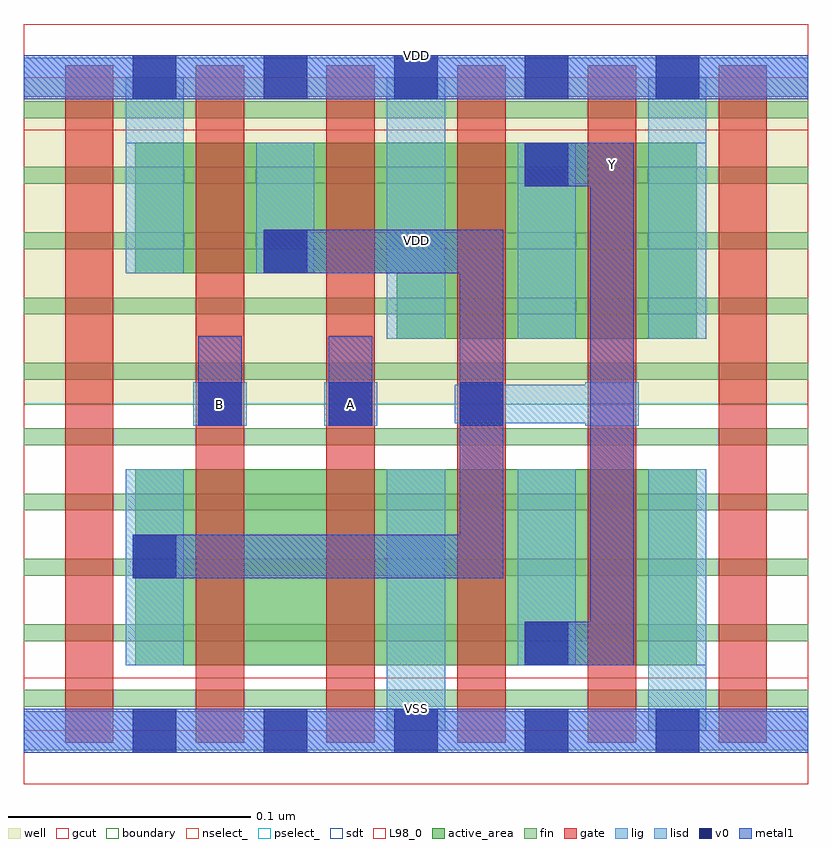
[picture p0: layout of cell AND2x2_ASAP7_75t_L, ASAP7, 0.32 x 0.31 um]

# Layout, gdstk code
import gdstk
lib = gdstk.Library(unit=1e-6, precision=2.5e-10)
def R(c, l, rs):  # rectangles x0, y0, x1, y1
    for r in rs: c.add(gdstk.rectangle(r[:2], r[2:], *l))
def A(c, l, x, y, w, h, nx, ny, dx, dy):  # array of equal rectangles
    R(c, l, [(x+i*dx, y+j*dy, x+i*dx+w, y+j*dy+h) for i in range(nx) for j in range(ny)])
def P(c, l, *ps):  # polygons
    for p in ps: c.add(gdstk.Polygon(p, *l))
well = (1, 0)
fin = (2, 0)
gate = (7, 0)
gcut = (10, 0)
active_area = (11, 0)
nselect_ = (12, 0)
pselect_ = (13, 0)
lig = (16, 0)
lisd = (17, 0)
v0 = (18, 0)
metal1 = (19, 0)
sdt = (88, 0)
L98_0 = (98, 0)
boundary = (100, 0)

and2x2_asap7_75t_l = lib.new_cell('AND2x2_ASAP7_75t_L')
R(and2x2_asap7_75t_l, well, [(0,0.135,0.324,0.27)])
A(and2x2_asap7_75t_l, fin, 0, 0.01, 0.324, 0.007, 1, 10, 0, 0.027)
A(and2x2_asap7_75t_l, gate, 0.017, -0.005, 0.02, 0.28, 6, 1, 0.054, 0)
R(and2x2_asap7_75t_l, gcut, [(0,-0.022,0.324,0.022), (0,0.248,0.324,0.292)])
R(and2x2_asap7_75t_l, active_area, [(0.046,0.027,0.278,0.108)])
P(and2x2_asap7_75t_l, active_area, [(0.046,0.189),(0.154,0.189),(0.154,0.162),(0.278,0.162),(0.278,0.243),(0.046,0.243)])
R(and2x2_asap7_75t_l, nselect_, [(0,0,0.324,0.135)])
R(and2x2_asap7_75t_l, pselect_, [(0,0.135,0.324,0.27)])
R(and2x2_asap7_75t_l, lig, [(0,-0.008,0.324,0.008), (0.07,0.126,0.092,0.144), (0.124,0.126,0.146,0.144), (0.232,0.126,0.254,0.144), (0.178,0.127,0.254,0.143), (0,0.262,0.324,0.278)])
R(and2x2_asap7_75t_l, lisd, [(0.15,0,0.174,0.108), (0.15,0,0.174,0.108), (0.258,0,0.282,0.108), (0.258,0,0.282,0.108), (0.042,0.027,0.066,0.108), (0.204,0.027,0.228,0.108), (0.15,0.162,0.174,0.27), (0.15,0.162,0.174,0.27), (0.204,0.162,0.228,0.243), (0.258,0.162,0.282,0.27), (0.258,0.162,0.282,0.27), (0.042,0.189,0.066,0.27), (0.042,0.189,0.066,0.27), (0.096,0.189,0.12,0.243)])
A(and2x2_asap7_75t_l, v0, 0.045, -0.009, 0.018, 0.018, 5, 2, 0.054, 0.27)
A(and2x2_asap7_75t_l, v0, 0.072, 0.126, 0.018, 0.018, 3, 1, 0.054, 0)
R(and2x2_asap7_75t_l, v0, [(0.207,0.027,0.225,0.045), (0.045,0.063,0.063,0.081), (0.099,0.189,0.117,0.207), (0.207,0.225,0.225,0.243)])
A(and2x2_asap7_75t_l, metal1, 0.072, 0.126, 0.018, 0.018, 3, 1, 0.054, 0)
R(and2x2_asap7_75t_l, metal1, [(0,-0.009,0.324,0.009), (0.207,0.027,0.225,0.045), (0.045,0.063,0.063,0.081), (0.072,0.126,0.09,0.163), (0.126,0.126,0.144,0.163), (0.099,0.189,0.117,0.207), (0.207,0.225,0.225,0.243), (0,0.261,0.324,0.279)])
P(and2x2_asap7_75t_l, metal1, [(0.099,0.207),(0.099,0.189),(0.18,0.189),(0.18,0.081),(0.045,0.081),(0.045,0.063),(0.198,0.063),(0.198,0.207)],
  [(0.207,0.243),(0.207,0.225),(0.234,0.225),(0.234,0.045),(0.207,0.045),(0.207,0.027),(0.252,0.027),(0.252,0.243)])
A(and2x2_asap7_75t_l, sdt, 0.15, 0.027, 0.024, 0.081, 3, 2, 0.054, 0.135)
R(and2x2_asap7_75t_l, sdt, [(0.042,0.027,0.066,0.108), (0.15,0.027,0.174,0.108), (0.258,0.027,0.282,0.108), (0.15,0.162,0.174,0.243), (0.258,0.162,0.282,0.243), (0.042,0.189,0.066,0.243), (0.042,0.189,0.066,0.243), (0.096,0.189,0.12,0.243)])
R(and2x2_asap7_75t_l, L98_0, [(0,0,0.324,0.27)])
R(and2x2_asap7_75t_l, boundary, [(0,0,0.324,0.27)])
and2x2_asap7_75t_l.add(gdstk.Label('VDD', (0.162,0.2025), layer=1, texttype=251))
and2x2_asap7_75t_l.add(gdstk.Label('VSS', (0.162,-0.0675), layer=3, texttype=251))
and2x2_asap7_75t_l.add(gdstk.Label('VSS', (0.162,0.009), layer=19, texttype=251))
and2x2_asap7_75t_l.add(gdstk.Label('VDD', (0.162,0.279), layer=19, texttype=251))
and2x2_asap7_75t_l.add(gdstk.Label('B', (0.081,0.135), layer=19, texttype=251))
and2x2_asap7_75t_l.add(gdstk.Label('A', (0.135,0.135), layer=19, texttype=251))
and2x2_asap7_75t_l.add(gdstk.Label('Y', (0.243,0.234), layer=19, texttype=251))

lib.write_gds('AND2x2_ASAP7_75t_L.gds')
